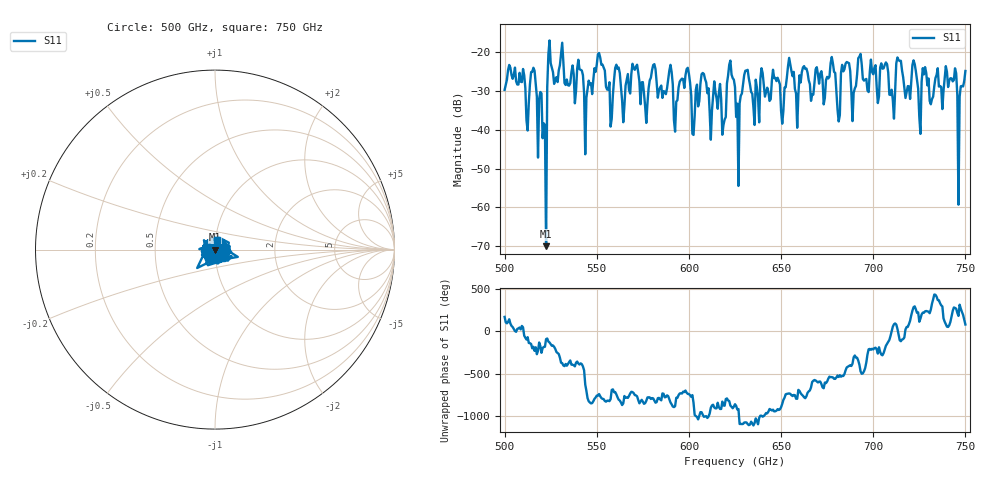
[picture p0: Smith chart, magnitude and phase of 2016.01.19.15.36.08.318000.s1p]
!Created with skrf (http://scikit-rf.org).
# GHz S RI R 50.0
!freq ReS11 ImS11
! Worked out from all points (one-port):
!   401 points, 500 GHz to 750 GHz, reference 50 ohm
!   lowest |S11| = -70.1 dB at 522.5 GHz (marker M1), VSWR 1.00, Z = 50 - j0.0313 ohm
!   |S11| at or under -10 dB: start of sweep to end of sweep
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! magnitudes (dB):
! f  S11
! 500 GHz  -29.7
! 512.5 GHz  -40.2
! 515.6 GHz  -24.0
! 521.2 GHz  -38.3
! 522.5 GHz  -70.1
! 524.4 GHz  -16.9
! 531.2 GHz  -17.5
! 544.4 GHz  -31.7
! 551.2 GHz  -20.2
! 556.9 GHz  -27.7
! 562.5 GHz  -25.4
! 593.8 GHz  -32.3
! 599.4 GHz  -24.0
! 602.5 GHz  -41.3
! 607.5 GHz  -25.3
! 625 GHz  -28.9
! 626.9 GHz  -54.5
! 631.2 GHz  -24.6
! 651.2 GHz  -35.1
! 656.2 GHz  -26.1
! 687.5 GHz  -24.8
! 706.2 GHz  -23.2
! 710.6 GHz  -32.3
! 713.8 GHz  -22.0
! 718.8 GHz  -28.7
! 743.8 GHz  -27.1
! 746.9 GHz  -31.4
! 750 GHz  -24.8
